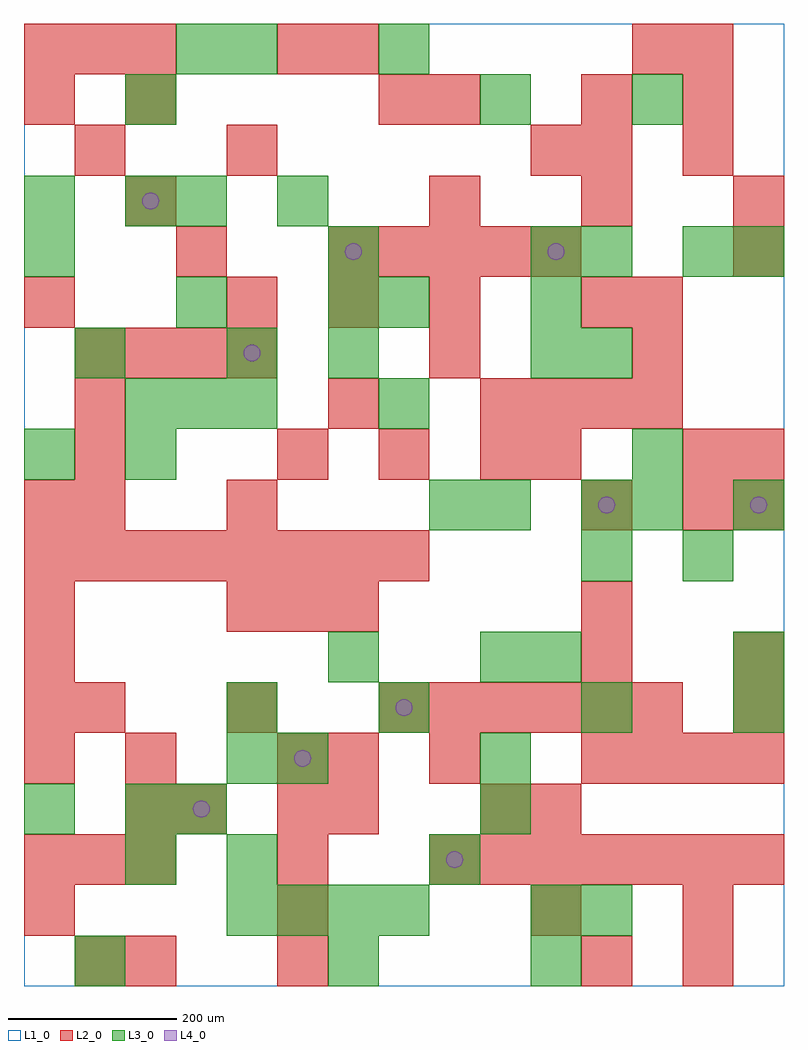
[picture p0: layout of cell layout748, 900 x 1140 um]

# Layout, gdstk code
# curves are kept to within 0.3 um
import gdstk
lib = gdstk.Library(unit=1e-6, precision=1e-09)
def R(c, l, rs):  # rectangles x0, y0, x1, y1
    for r in rs: c.add(gdstk.rectangle(r[:2], r[2:], *l))
def A(c, l, x, y, w, h, nx, ny, dx, dy):  # array of equal rectangles
    R(c, l, [(x+i*dx, y+j*dy, x+i*dx+w, y+j*dy+h) for i in range(nx) for j in range(ny)])
def P(c, l, *ps):  # polygons
    for p in ps: c.add(gdstk.Polygon(p, *l))
L1_0 = (1, 0)
L2_0 = (2, 0)
L3_0 = (3, 0)
L4_0 = (4, 0)

layout748 = lib.new_cell('layout748')
R(layout748, L1_0, [(0,0,900,1140)])
A(layout748, L2_0, 0, 60, 60, 60, 3, 1, 300, 0)
A(layout748, L2_0, 0, 120, 60, 60, 3, 2, 60, 960)
A(layout748, L2_0, 300, 120, 60, 60, 1, 3, 0, 60)
A(layout748, L2_0, 480, 120, 60, 60, 7, 1, 60, 0)
A(layout748, L2_0, 0, 240, 60, 60, 1, 4, 0, 60)
A(layout748, L2_0, 360, 240, 60, 60, 1, 3, 0, 420)
A(layout748, L2_0, 660, 240, 60, 60, 4, 1, 60, 0)
A(layout748, L2_0, 60, 300, 60, 60, 3, 1, 180, 0)
A(layout748, L2_0, 480, 300, 60, 60, 5, 1, 60, 0)
A(layout748, L2_0, 240, 420, 60, 60, 3, 1, 60, 0)
A(layout748, L2_0, 0, 480, 60, 60, 8, 1, 60, 0)
A(layout748, L2_0, 0, 540, 60, 60, 1, 3, 0, 240)
A(layout748, L2_0, 60, 540, 60, 60, 1, 3, 0, 60)
A(layout748, L2_0, 300, 600, 60, 60, 3, 1, 120, 0)
A(layout748, L2_0, 540, 660, 60, 60, 4, 1, 60, 0)
A(layout748, L2_0, 60, 720, 60, 60, 4, 1, 60, 0)
A(layout748, L2_0, 240, 780, 60, 60, 3, 1, 120, 0)
A(layout748, L2_0, 360, 840, 60, 60, 5, 1, 60, 0)
A(layout748, L2_0, 480, 900, 60, 60, 3, 1, 180, 0)
A(layout748, L2_0, 780, 960, 60, 60, 1, 3, 0, 60)
R(layout748, L2_0, [(60,0,120,60), (120,0,180,60), (300,0,360,60), (660,0,720,60), (780,0,840,60), (780,60,840,120), (120,180,180,240), (180,180,240,240), (360,180,420,240), (540,180,600,240), (600,180,660,240), (120,240,180,300), (480,240,540,300), (840,300,900,360), (660,360,720,420), (840,360,900,420), (660,420,720,480), (240,540,300,600), (660,540,720,600), (780,540,840,600), (840,540,900,600), (600,600,660,660), (780,600,840,660), (840,600,900,660), (480,720,540,780), (720,720,780,780), (660,780,720,840), (720,780,780,840), (180,840,240,900), (840,840,900,900), (120,900,180,960), (60,960,120,1020), (240,960,300,1020), (600,960,660,1020), (660,960,720,1020), (120,1020,180,1080), (420,1020,480,1080), (480,1020,540,1080), (660,1020,720,1080), (300,1080,360,1140), (720,1080,780,1140)])
A(layout748, L3_0, 360, 0, 60, 60, 1, 3, 0, 360)
A(layout748, L3_0, 240, 60, 60, 60, 4, 1, 60, 0)
A(layout748, L3_0, 120, 660, 60, 60, 3, 1, 60, 0)
A(layout748, L3_0, 600, 720, 60, 60, 1, 3, 0, 60)
R(layout748, L3_0, [(60,0,120,60), (600,0,660,60), (600,60,660,120), (660,60,720,120), (120,120,180,180), (240,120,300,180), (480,120,540,180), (0,180,60,240), (120,180,180,240), (180,180,240,240), (540,180,600,240), (240,240,300,300), (300,240,360,300), (540,240,600,300), (240,300,300,360), (420,300,480,360), (660,300,720,360), (840,300,900,360), (540,360,600,420), (600,360,660,420), (840,360,900,420), (660,480,720,540), (780,480,840,540), (480,540,540,600), (540,540,600,600), (660,540,720,600), (720,540,780,600), (840,540,900,600), (0,600,60,660), (120,600,180,660), (720,600,780,660), (420,660,480,720), (60,720,120,780), (240,720,300,780), (660,720,720,780), (180,780,240,840), (360,780,420,840), (420,780,480,840), (0,840,60,900), (360,840,420,900), (660,840,720,900), (780,840,840,900), (840,840,900,900), (0,900,60,960), (120,900,180,960), (180,900,240,960), (300,900,360,960), (120,1020,180,1080), (540,1020,600,1080), (720,1020,780,1080), (180,1080,240,1140), (240,1080,300,1140), (420,1080,480,1140)])
P(layout748, L4_0, [(160,930),(159.239,933.827),(157.071,937.071),(153.827,939.239),(150,940),(146.173,939.239),(142.929,937.071),(140.761,933.827),(140,930),(140.761,926.173),(142.929,922.929),(146.173,920.761),(150,920),(153.827,920.761),(157.071,922.929),(159.239,926.173)],
  [(220,210),(219.239,213.827),(217.071,217.071),(213.827,219.239),(210,220),(206.173,219.239),(202.929,217.071),(200.761,213.827),(200,210),(200.761,206.173),(202.929,202.929),(206.173,200.761),(210,200),(213.827,200.761),(217.071,202.929),(219.239,206.173)],
  [(280,750),(279.239,753.827),(277.071,757.071),(273.827,759.239),(270,760),(266.173,759.239),(262.929,757.071),(260.761,753.827),(260,750),(260.761,746.173),(262.929,742.929),(266.173,740.761),(270,740),(273.827,740.761),(277.071,742.929),(279.239,746.173)],
  [(340,270),(339.239,273.827),(337.071,277.071),(333.827,279.239),(330,280),(326.173,279.239),(322.929,277.071),(320.761,273.827),(320,270),(320.761,266.173),(322.929,262.929),(326.173,260.761),(330,260),(333.827,260.761),(337.071,262.929),(339.239,266.173)],
  [(400,870),(399.239,873.827),(397.071,877.071),(393.827,879.239),(390,880),(386.173,879.239),(382.929,877.071),(380.761,873.827),(380,870),(380.761,866.173),(382.929,862.929),(386.173,860.761),(390,860),(393.827,860.761),(397.071,862.929),(399.239,866.173)],
  [(460,330),(459.239,333.827),(457.071,337.071),(453.827,339.239),(450,340),(446.173,339.239),(442.929,337.071),(440.761,333.827),(440,330),(440.761,326.173),(442.929,322.929),(446.173,320.761),(450,320),(453.827,320.761),(457.071,322.929),(459.239,326.173)],
  [(520,150),(519.239,153.827),(517.071,157.071),(513.827,159.239),(510,160),(506.173,159.239),(502.929,157.071),(500.761,153.827),(500,150),(500.761,146.173),(502.929,142.929),(506.173,140.761),(510,140),(513.827,140.761),(517.071,142.929),(519.239,146.173)],
  [(640,870),(639.239,873.827),(637.071,877.071),(633.827,879.239),(630,880),(626.173,879.239),(622.929,877.071),(620.761,873.827),(620,870),(620.761,866.173),(622.929,862.929),(626.173,860.761),(630,860),(633.827,860.761),(637.071,862.929),(639.239,866.173)],
  [(700,570),(699.239,573.827),(697.071,577.071),(693.827,579.239),(690,580),(686.173,579.239),(682.929,577.071),(680.761,573.827),(680,570),(680.761,566.173),(682.929,562.929),(686.173,560.761),(690,560),(693.827,560.761),(697.071,562.929),(699.239,566.173)],
  [(880,570),(879.239,573.827),(877.071,577.071),(873.827,579.239),(870,580),(866.173,579.239),(862.929,577.071),(860.761,573.827),(860,570),(860.761,566.173),(862.929,562.929),(866.173,560.761),(870,560),(873.827,560.761),(877.071,562.929),(879.239,566.173)])

lib.write_gds('layout748.gds')
